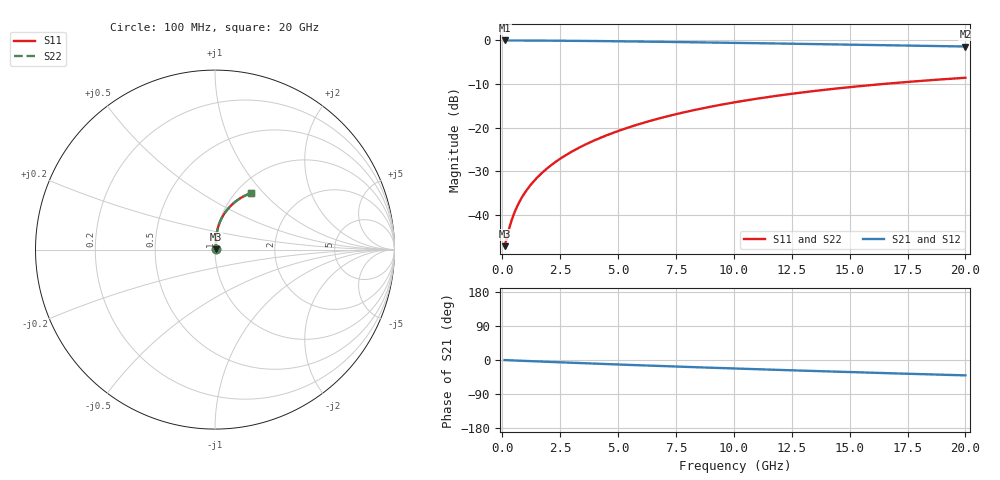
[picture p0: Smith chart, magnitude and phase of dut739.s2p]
! Touchstone file exported from HFSS 2024.1.0
!  File:  C:/UserFiles/LocalFiles/RDL_TSV_Batchsim/temp_RDL_bottom_739_1779859255.aedt
!  Generated:  01:23:48 PM May 27, 2026
!  Design:  RDL_bottom
!  Project:  temp_RDL_bottom_739_1779859255
!  Setup:  Setup1
!  Solution:  Sweep
! Variables:
!  dtsv = 10.80580581um
!  hbump = 3um
!  htsv = 94.67um
!  ldown = 536.19um
!  lrdl = 100um
!  p = 40
!  p1 = 56.66um
!  rhole = 1um
!  t = 450um
!  tdown = 2.08um
!  trdl = 3.915915916um
!  wdown = 25.55um
!  wrdl = 20um
# GHz S MA R 50.000000
! Terminal data exported
! Port[1] = RDL1_T1
! Port[2] = RDL1_T2
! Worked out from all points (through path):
!   200 points, 100 MHz to 20 GHz, reference 50 ohm
!   highest |S21| = -0.03 dB at 100 MHz (marker M1); lowest = -1.4 dB at 20 GHz (marker M2)
!   group delay of S21, straight-line fit = 5.59 ps
!   lowest |S11| = -47.1 dB at 100 MHz (marker M3), VSWR 1.01, Z = 50.4 + j0.195 ohm
!   |S11| at or under -10 dB: start of sweep to 16.46 GHz
!   |S22| runs from -47.1 to -8.6 dB; largest |S21 - S12| = 2e-15
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0.1  0.004394 26.1  0.996 -0.3  0.996 -0.3  0.004394 26.1
! Gamma 0 0 0 0
! Port Impedance 50 0 50 0
0.3  0.007055 53.5  0.9957 -0.8  0.9957 -0.8  0.007055 53.5
0.4  0.008641 59.8  0.9955 -1.0  0.9955 -1.0  0.008641 59.8
0.5  0.01026 64.0  0.9953 -1.3  0.9953 -1.3  0.01026 64.0
0.6  0.01187 67.0  0.995 -1.5  0.995 -1.5  0.01188 67.0
0.7  0.0135 69.4  0.9948 -1.8  0.9948 -1.8  0.0135 69.4
0.9  0.01675 72.9  0.9943 -2.2  0.9943 -2.2  0.01675 72.9
1.2  0.02168 76.4  0.9936 -3.0  0.9936 -3.0  0.02168 76.4
1.7  0.03009 79.9  0.9921 -4.2  0.9921 -4.2  0.03009 79.9
2.2  0.03875 81.9  0.9903 -5.4  0.9903 -5.4  0.03875 81.9
2.8  0.04946 83.3  0.9878 -6.8  0.9878 -6.8  0.04946 83.3
3.5  0.06238 84.0  0.9842 -8.4  0.9842 -8.4  0.06238 84.0
4.2  0.07573 84.2  0.98 -10.0  0.98 -10.0  0.07572 84.2
5  0.09144 83.9  0.9748 -11.9  0.9748 -11.9  0.09143 83.9
5.9  0.1096 83.2  0.9684 -13.8  0.9684 -13.8  0.1096 83.1
6.8  0.1281 82.1  0.9615 -15.8  0.9615 -15.8  0.128 82.0
8.4  0.1613 79.5  0.9487 -19.1  0.9487 -19.1  0.1613 79.5
10.1  0.1964 76.4  0.9346 -22.6  0.9346 -22.6  0.1963 76.4
11.7  0.2285 73.4  0.921 -25.7  0.921 -25.7  0.2284 73.3
13.4  0.2614 70.0  0.9063 -28.9  0.9063 -28.9  0.2613 70.0
16.7  0.3203 63.7  0.8776 -34.9  0.8776 -34.9  0.3202 63.6
20  0.3724 57.7  0.8491 -40.5  0.8491 -40.5  0.3722 57.6
